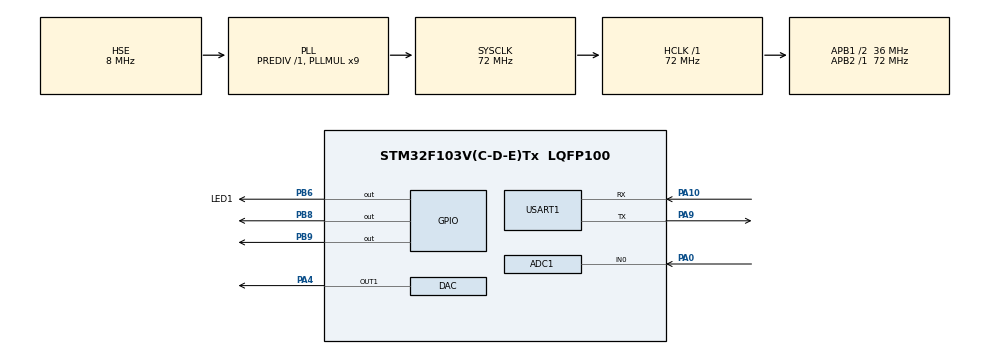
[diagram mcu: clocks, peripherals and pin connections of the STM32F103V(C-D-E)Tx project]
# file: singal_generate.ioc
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ADC1.Channel-0\#ChannelRegularConversion=ADC_CHANNEL_0
ADC1.ExternalTrigConv=ADC_EXTERNALTRIGCONV_T3_TRGO
ADC1.NbrOfConversionFlag=1
ADC1.Rank-0\#ChannelRegularConversion=1
ADC1.SamplingTime-0\#ChannelRegularConversion=ADC_SAMPLETIME_1CYCLE_5
ADC1.master=1
DAC.DAC_Trigger=DAC_TRIGGER_T2_TRGO
Dma.ADC1.1.Direction=DMA_PERIPH_TO_MEMORY
Dma.ADC1.1.Instance=DMA1_Channel1
Dma.ADC1.1.MemDataAlignment=DMA_MDATAALIGN_HALFWORD
Dma.ADC1.1.MemInc=DMA_MINC_ENABLE
Dma.ADC1.1.Mode=DMA_CIRCULAR
Dma.ADC1.1.PeriphDataAlignment=DMA_PDATAALIGN_HALFWORD
Dma.ADC1.1.PeriphInc=DMA_PINC_DISABLE
Dma.ADC1.1.Priority=DMA_PRIORITY_LOW
Dma.DAC_CH1.0.Direction=DMA_MEMORY_TO_PERIPH
Dma.DAC_CH1.0.Instance=DMA2_Channel3
Dma.DAC_CH1.0.MemDataAlignment=DMA_MDATAALIGN_HALFWORD
Dma.DAC_CH1.0.MemInc=DMA_MINC_ENABLE
Dma.DAC_CH1.0.Mode=DMA_CIRCULAR
Dma.DAC_CH1.0.PeriphDataAlignment=DMA_PDATAALIGN_HALFWORD
Dma.DAC_CH1.0.PeriphInc=DMA_PINC_DISABLE
Dma.DAC_CH1.0.Priority=DMA_PRIORITY_LOW
Dma.Request0=DAC_CH1
Dma.Request1=ADC1
Mcu.Family=STM32F1
Mcu.Name=STM32F103V(C-D-E)Tx
Mcu.Package=LQFP100
NVIC.PriorityGroup=NVIC_PRIORITYGROUP_4
NVIC.TIM7_IRQn=true\:15\:0\:false\:false\:true\:false\:true\:true
NVIC.TimeBase=TIM7_IRQn
NVIC.TimeBaseIP=TIM7
NVIC.USART1_IRQn=true\:0\:0\:false\:false\:true\:true\:true\:true
OSC_IN.Mode=HSE-External-Oscillator
OSC_IN.Signal=RCC_OSC_IN
OSC_OUT.Mode=HSE-External-Oscillator
OSC_OUT.Signal=RCC_OSC_OUT
PA0-WKUP.Signal=ADCx_IN0
PA10.Mode=Asynchronous
PA10.Signal=USART1_RX
PA13.Mode=Serial_Wire
PA13.Signal=SYS_JTMS-SWDIO
PA14.Mode=Serial_Wire
PA14.Signal=SYS_JTCK-SWCLK
PA4.Signal=COMP_DAC1_group
PA9.Mode=Asynchronous
PA9.Signal=USART1_TX
PB6.GPIO_Label=LED1
PB6.GPIO_PuPd=GPIO_NOPULL
PB6.GPIO_Speed=GPIO_SPEED_FREQ_HIGH
PB6.PinState=GPIO_PIN_SET
PB6.Signal=GPIO_Output
PB8.GPIO_ModeDefaultOutputPP=GPIO_MODE_OUTPUT_OD
PB8.GPIO_PuPd=GPIO_NOPULL
PB8.GPIO_Speed=GPIO_SPEED_FREQ_HIGH
PB8.PinState=GPIO_PIN_RESET
PB8.Signal=GPIO_Output
PB9.GPIO_ModeDefaultOutputPP=GPIO_MODE_OUTPUT_OD
PB9.GPIO_PuPd=GPIO_NOPULL
PB9.GPIO_Speed=GPIO_SPEED_FREQ_HIGH
PB9.Signal=GPIO_Output
PC14-OSC32_IN.Mode=LSE-External-Oscillator
PC14-OSC32_IN.Signal=RCC_OSC32_IN
PC15-OSC32_OUT.Mode=LSE-External-Oscillator
PC15-OSC32_OUT.Signal=RCC_OSC32_OUT
ProjectManager.HeapSize=0x200
ProjectManager.StackSize=0x400
ProjectManager.TargetToolchain=CMake
RCC.ADCPresc=RCC_ADCPCLK2_DIV6
RCC.AHBFreq_Value=72000000
RCC.APB1CLKDivider=RCC_HCLK_DIV2
RCC.APB1Freq_Value=36000000
RCC.APB1TimFreq_Value=72000000
RCC.APB2Freq_Value=72000000
RCC.APB2TimFreq_Value=72000000
RCC.HCLKFreq_Value=72000000
RCC.PLLMUL=RCC_PLL_MUL9
RCC.PLLSourceVirtual=RCC_PLLSOURCE_HSE
RCC.SYSCLKFreq_VALUE=72000000
RCC.SYSCLKSource=RCC_SYSCLKSOURCE_PLLCLK
RCC.USBFreq_Value=72000000
SH.ADCx_IN0.0=ADC1_IN0,IN0
SH.COMP_DAC1_group.0=DAC_OUT1,DAC_OUT1
TIM2.AutoReloadPreload=TIM_AUTORELOAD_PRELOAD_ENABLE
TIM2.Period=71
TIM2.TIM_MasterOutputTrigger=TIM_TRGO_UPDATE
TIM3.Period=1000
TIM3.Prescaler=71
TIM3.TIM_MasterOutputTrigger=TIM_TRGO_UPDATE
USART1.VirtualMode=VM_ASYNC
VP_SYS_VS_tim7.Mode=TIM7
VP_TIM2_VS_ClockSourceINT.Mode=Internal
VP_TIM3_VS_ClockSourceINT.Mode=Internal
board=custom

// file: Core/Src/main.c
/* USER CODE BEGIN Header */
/**
  ******************************************************************************
  * @file           : main.c
  * @brief          : Main program body
  ******************************************************************************
  * @attention
  *
  * Copyright (c) 2026 STMicroelectronics.
  * All rights reserved.
  *
  * This software is licensed under terms that can be found in the LICENSE file
  * in the root directory of this software component.
  * If no LICENSE file comes with this software, it is provided AS-IS.
  *
  ******************************************************************************
  */
/* USER CODE END Header */
#include "main.h"
#include "adc.h"
#include "dac.h"
#include "dma.h"
#include "tim.h"
#include "usart.h"
#include "gpio.h"

/* USER CODE BEGIN Includes */
#include "FreeRTOS.h"
#include "task.h"
#include <math.h>
#include <stdio.h>
#include <string.h>
#include "App_task.hpp"
/* USER CODE END Includes */

/* USER CODE BEGIN PD */
#define SINE_TABLE_SIZE 1024
/* USER CODE END PD */

/* USER CODE BEGIN PV */
static uint16_t sine_table[SINE_TABLE_SIZE];
uint16_t adc_buf[128];
/* USER CODE END PV */

void SystemClock_Config(void);

/* USER CODE BEGIN 0 */
static void Gen_SineTable(void)
{
  for(uint16_t i = 0; i < SINE_TABLE_SIZE; i++)
  {
    float val = sin(2.0f * M_PI * i / SINE_TABLE_SIZE);
    sine_table[i] = (uint16_t)(2048 + 2047 * val);
  }
}

/* USER CODE END 0 */

int main(void)
{

  /* MCU Configuration--------------------------------------------------------*/

  /* Reset of all peripherals, Initializes the Flash interface and the Systick. */
  HAL_Init();

  /* Configure the system clock */
  SystemClock_Config();

  /* Initialize all configured peripherals */
  MX_GPIO_Init();
  MX_DMA_Init();
  MX_DAC_Init();
  MX_TIM2_Init();
  MX_USART1_UART_Init();
  MX_ADC1_Init();
  MX_TIM3_Init();
  /* USER CODE BEGIN 2 */
  // 诊断：闪烁 3 次，验证程序没卡在时钟初始化
  for (int i = 0; i < 3; i++) {
      HAL_GPIO_WritePin(GPIOB, GPIO_PIN_6, GPIO_PIN_RESET);  // 亮
      HAL_Delay(200);
      HAL_GPIO_WritePin(GPIOB, GPIO_PIN_6, GPIO_PIN_SET);    // 灭
      HAL_Delay(200);
  }

  Gen_SineTable();

  HAL_DAC_Start_DMA(&hdac, DAC_CHANNEL_1, (uint32_t*)sine_table,
                    SINE_TABLE_SIZE, DAC_ALIGN_12B_R);
  HAL_TIM_Base_Start(&htim2);

  memset(adc_buf, 0, sizeof(adc_buf));
  HAL_ADC_Start_DMA(&hadc1, (uint32_t *)adc_buf, 128);
  HAL_TIM_Base_Start(&htim3);
  start_freertos();
  /* USER CODE END 2 */

  /* Infinite loop */
  while (1)
  {

  }
}

void SystemClock_Config(void)
{
  RCC_OscInitTypeDef RCC_OscInitStruct = {0};
  RCC_ClkInitTypeDef RCC_ClkInitStruct = {0};
  RCC_PeriphCLKInitTypeDef PeriphClkInit = {0};

  /** Initializes the RCC Oscillators according to the specified parameters
  * in the RCC_OscInitTypeDef structure.
  */
  RCC_OscInitStruct.OscillatorType = RCC_OSCILLATORTYPE_HSE;
  RCC_OscInitStruct.HSEState = RCC_HSE_ON;
  RCC_OscInitStruct.HSEPredivValue = RCC_HSE_PREDIV_DIV1;
  RCC_OscInitStruct.HSIState = RCC_HSI_ON;
  RCC_OscInitStruct.PLL.PLLState = RCC_PLL_ON;
  RCC_OscInitStruct.PLL.PLLSource = RCC_PLLSOURCE_HSE;
  RCC_OscInitStruct.PLL.PLLMUL = RCC_PLL_MUL9;
  if (HAL_RCC_OscConfig(&RCC_OscInitStruct) != HAL_OK)
  {
    Error_Handler();
  }

  /** Initializes the CPU, AHB and APB buses clocks
  */
  RCC_ClkInitStruct.ClockType = RCC_CLOCKTYPE_HCLK|RCC_CLOCKTYPE_SYSCLK
                              |RCC_CLOCKTYPE_PCLK1|RCC_CLOCKTYPE_PCLK2;
  RCC_ClkInitStruct.SYSCLKSource = RCC_SYSCLKSOURCE_PLLCLK;
  RCC_ClkInitStruct.AHBCLKDivider = RCC_SYSCLK_DIV1;
  RCC_ClkInitStruct.APB1CLKDivider = RCC_HCLK_DIV2;
  RCC_ClkInitStruct.APB2CLKDivider = RCC_HCLK_DIV1;

  if (HAL_RCC_ClockConfig(&RCC_ClkInitStruct, FLASH_LATENCY_2) != HAL_OK)
  {
    Error_Handler();
  }
  PeriphClkInit.PeriphClockSelection = RCC_PERIPHCLK_ADC;
  PeriphClkInit.AdcClockSelection = RCC_ADCPCLK2_DIV6;
  if (HAL_RCCEx_PeriphCLKConfig(&PeriphClkInit) != HAL_OK)
  {
    Error_Handler();
  }
}

void HAL_TIM_PeriodElapsedCallback(TIM_HandleTypeDef *htim)
{
  if (htim->Instance == TIM7)
  {
    HAL_IncTick();
  }
}

void Error_Handler(void)
{
  __disable_irq();
  while (1)
  {
  }
}
